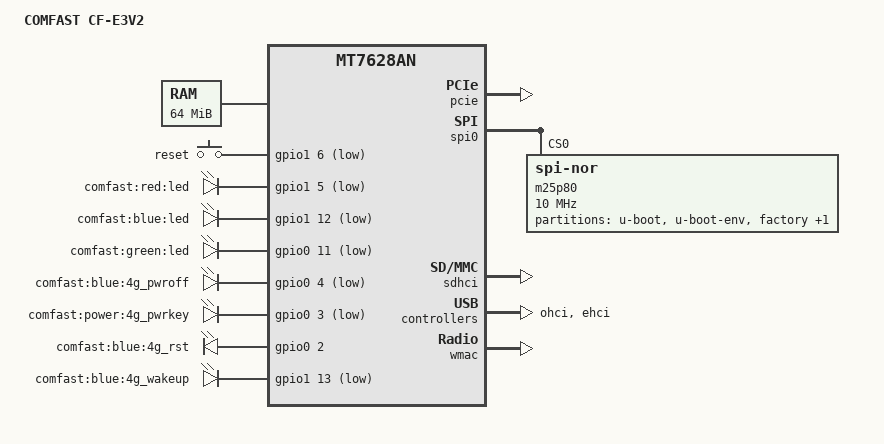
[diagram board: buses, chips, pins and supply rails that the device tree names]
/dts-v1/;
#include <dt-bindings/input/input.h>
#include <dt-bindings/gpio/gpio.h>

#include "mt7628an.dtsi"

/ {
	compatible = "comfast,cf-e3v2", "mediatek,mt7628an-soc";
	model = "COMFAST CF-E3V2";

	chosen {
		bootargs = "console=ttyS0,115200";
	};

	memory@0 {
		device_type = "memory";
		reg = <0x0 0x4000000>;
	};

	gpio-keys-polled {
		compatible = "gpio-keys-polled";
		#address-cells = <1>;
		#size-cells = <0>;
		poll-interval = <20>;

		reset {
			label = "reset";
			gpios = <&gpio1 6 GPIO_ACTIVE_LOW>;
			linux,code = <KEY_RESTART>;
		};
	};

	gpio-leds {
		compatible = "gpio-leds";

		red {
			label = "comfast:red:led";
			gpios = <&gpio1 5 GPIO_ACTIVE_LOW>;
		};
		blue {
			label = "comfast:blue:led";
			gpios = <&gpio1 12 GPIO_ACTIVE_LOW>;
		};
		green {
			label = "comfast:green:led";
			gpios = <&gpio0 11 GPIO_ACTIVE_LOW>;
		};
		4g_pwroff {
			label = "comfast:blue:4g_pwroff";
			gpios = <&gpio0 4 GPIO_ACTIVE_LOW>;
		};
		4g_pwrkey {
			label = "comfast:power:4g_pwrkey";
			gpios = <&gpio0 3 GPIO_ACTIVE_LOW>;
		};
		4g_rst {
			label = "comfast:blue:4g_rst";
			gpios = <&gpio0 2 GPIO_ACTIVE_HIGH>;
		};
		4g_wakeup {
			label = "comfast:blue:4g_wakeup";
			gpios = <&gpio1 13 GPIO_ACTIVE_LOW>;
		};
	};
};

&pinctrl {
	state_default: pinctrl0 {
		gpio {
			ralink,group = "wled_an", "wdt", "refclk", "i2s" , "i2c", "gpio";
			ralink,function = "gpio";
		};
	};
};

&pcie {
	status = "okay";
};

&spi0 {
	status = "okay";

	m25p80@0 {
		#address-cells = <1>;
		#size-cells = <1>;
		compatible = "jedec,spi-nor";
		reg = <0>;
		spi-max-frequency = <10000000>;
		m25p,chunked-io = <32>;

		partition@0 {
			label = "u-boot";
			reg = <0x0 0x30000>;
			read-only;
		};

		partition@30000 {
			label = "u-boot-env";
			reg = <0x30000 0x10000>;
			read-only;
		};

		factory: partition@40000 {
			label = "factory";
			reg = <0x40000 0x10000>;
			read-only;
		};

		partition@50000 {
			label = "firmware";
			reg = <0x50000 0x7b0000>;
		};
	};
};

&sdhci {
		status = "okay";
};

&ohci {
		status = "okay";
};

&ehci {
		status = "okay";
};

&ethernet {
	mtd-mac-address = <&factory 0xe000>;
	ralink,port-map = "llllw";
};

&wmac {
        status = "okay";
        mediatek,mtd-eeprom = <&factory 0x0>;
	mediatek,portmap = "llllw";
};
